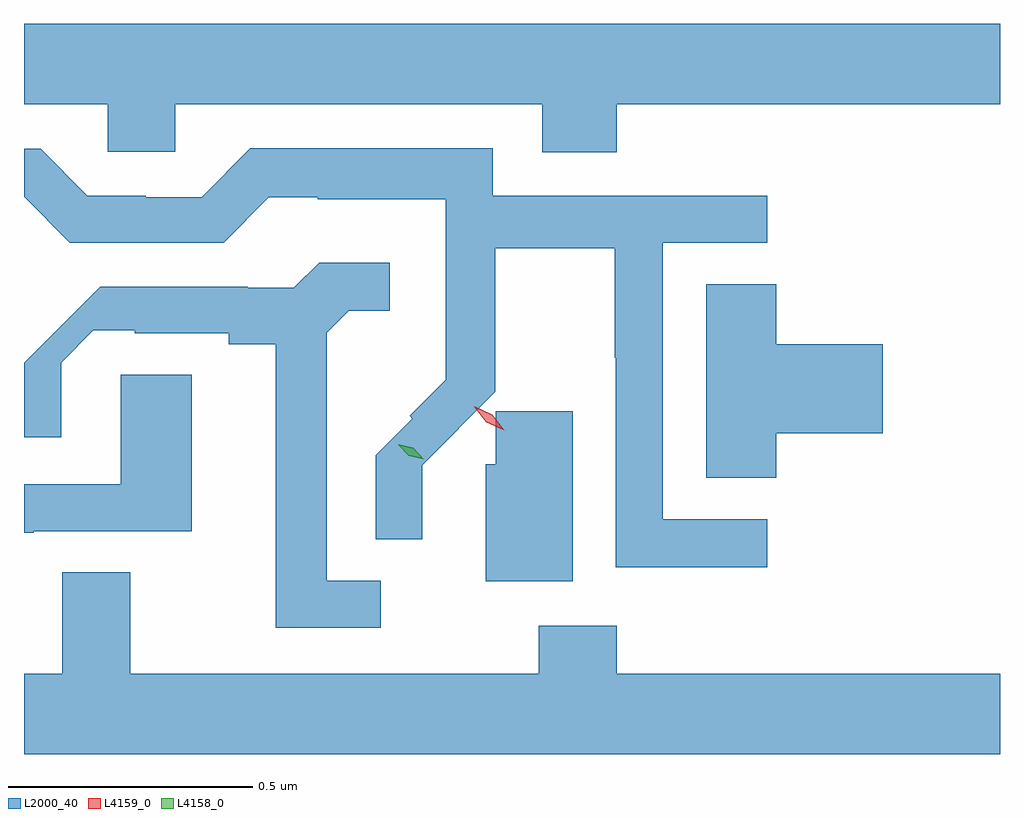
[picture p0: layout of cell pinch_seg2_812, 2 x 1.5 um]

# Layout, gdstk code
import gdstk
lib = gdstk.Library(unit=1e-6, precision=1e-09)
def P(c, l, *ps):  # polygons
    for p in ps: c.add(gdstk.Polygon(p, *l))
L2000_40 = (2000, 40)
L4158_0 = (4158, 0)
L4159_0 = (4159, 0)

pinch_seg2_812 = lib.new_cell('pinch_seg2_812')
P(pinch_seg2_812, L2000_40, [(735.71,607.676),(736.495,607.676),(736.495,607.84),(734.495,607.84),(734.495,607.676),(734.667,607.676),(734.667,607.578),(734.805,607.578),(734.805,607.676),(735.557,607.676),(735.557,607.577),(735.71,607.577)],
  [(736.018,606.825),(735.804,606.825),(735.804,607.392),(736.018,607.392),(736.018,607.488),(735.456,607.488),(735.456,607.585),(734.959,607.585),(734.859,607.485),(734.744,607.485),(734.744,607.488),(734.625,607.488),(734.529,607.584),(734.495,607.584),(734.495,607.486),(734.589,607.392),(734.904,607.392),(734.997,607.485),(735.097,607.485),(735.097,607.481),(735.359,607.481),(735.359,607.111),(735.285,607.037),(735.291,607.031),(735.216,606.956),(735.216,606.784),(735.311,606.784),(735.311,606.936),(735.461,607.086),(735.461,607.38),(735.706,607.38),(735.706,607.156),(735.708,607.156),(735.708,606.727),(736.018,606.727)],
  [(735.226,606.699),(735.115,606.699),(735.115,607.207),(735.16,607.252),(735.244,607.252),(735.244,607.351),(735.1,607.351),(735.048,607.299),(734.954,607.299),(734.954,607.302),(734.651,607.302),(734.495,607.146),(734.495,606.993),(734.571,606.993),(734.571,607.146),(734.637,607.212),(734.722,607.212),(734.722,607.206),(734.915,607.206),(734.915,607.184),(735.011,607.184),(735.011,606.603),(735.226,606.603)],
  [(736.037,607.001),(736.255,607.001),(736.255,607.184),(736.037,607.184),(736.037,607.307),(735.893,607.307),(735.893,606.91),(736.037,606.91)],
  [(734.515,606.801),(734.839,606.801),(734.839,607.121),(734.693,607.121),(734.693,606.897),(734.495,606.897),(734.495,606.797),(734.515,606.797)],
  [(735.619,607.046),(735.462,607.046),(735.462,606.938),(735.441,606.938),(735.441,606.698),(735.619,606.698)],
  [(736.495,606.508),(735.71,606.508),(735.71,606.607),(735.55,606.607),(735.55,606.508),(734.713,606.508),(734.713,606.716),(734.573,606.716),(734.573,606.508),(734.495,606.508),(734.495,606.344),(736.495,606.344)])
P(pinch_seg2_812, L4158_0, [(735.314,606.948),(735.283,606.955),(735.262,606.978),(735.262,606.978),(735.262,606.979),(735.293,606.972),(735.314,606.948),(735.314,606.948)])
P(pinch_seg2_812, L4159_0, [(735.479,607.007),(735.442,607.024),(735.418,607.056),(735.418,607.057),(735.418,607.057),(735.455,607.039),(735.479,607.007),(735.479,607.007)])

lib.write_gds('pinch_seg2_812.gds')
